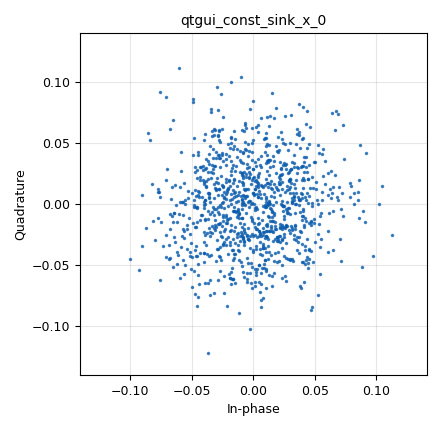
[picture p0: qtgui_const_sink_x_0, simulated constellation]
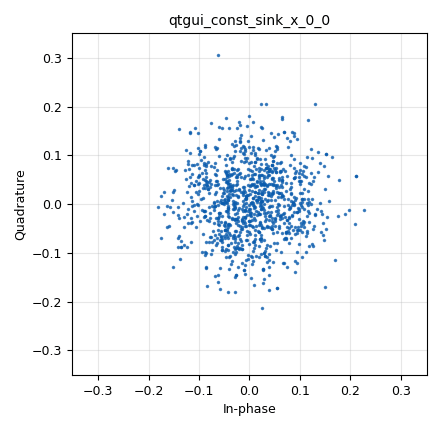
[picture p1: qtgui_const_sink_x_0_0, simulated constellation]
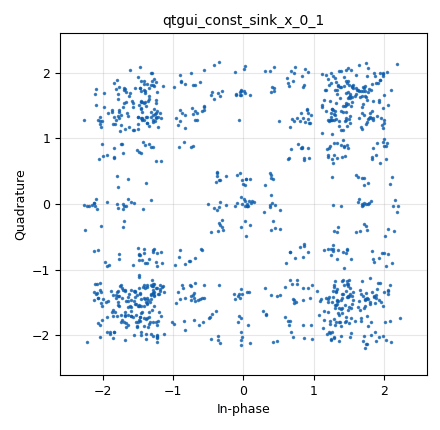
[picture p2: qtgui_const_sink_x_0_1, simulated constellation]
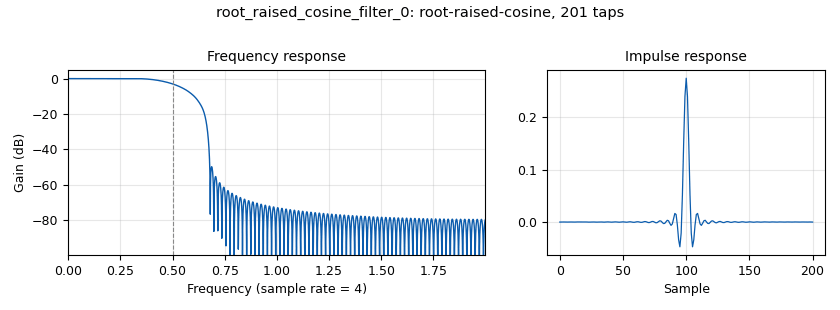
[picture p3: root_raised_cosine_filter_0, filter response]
options:
  parameters:
    generate_options: qt_gui
    id: qpsk_simulation1
    output_language: python
    title: QPSK
  states: {}

blocks:
- name: freq_offset
  id: variable_qtgui_range
  parameters:
    start: '0'
    step: '0.00001'
    stop: '0.001'
    value: '0.0001'
    widget: slider
  states: {}
- name: noise_voltage
  id: variable_qtgui_range
  parameters:
    start: '0'
    step: '1e-3'
    stop: '1'
    value: '0.1'
    widget: slider
  states: {}
- name: qpsk_constellation_0
  id: variable_constellation
  parameters:
    precision: '8'
    type: qpsk
  states: {}
- name: samp_rate
  id: variable
  parameters:
    value: '32000'
  states: {}
- name: time_offset
  id: variable_qtgui_range
  parameters:
    start: '0'
    step: '1e-5'
    stop: '1'
    value: '1e-6'
    widget: slider
  states: {}
- name: analog_random_source_x_0
  id: analog_random_source_x
  parameters:
    max: '256'
    min: '0'
    num_samps: '1000'
    repeat: 'True'
    type: byte
  states: {}
- name: blocks_throttle2_0
  id: blocks_throttle2
  parameters:
    samples_per_second: samp_rate
    type: complex
  states: {}
- name: channels_channel_model_0
  id: channels_channel_model
  parameters:
    epsilon: time_offset
    freq_offset: freq_offset
    noise_voltage: noise_voltage
    seed: '0'
    taps: '1'
  states: {}
- name: digital_constellation_modulator_0
  id: digital_constellation_modulator
  parameters:
    constellation: qpsk_constellation_0
    differential: 'False'
    excess_bw: '0.35'
    samples_per_symbol: '4'
  states: {}
- name: qtgui_const_sink_x_0
  id: qtgui_const_sink_x
  parameters:
    autoscale: 'True'
    grid: 'True'
    size: '1024'
    type: complex
  states: {}
- name: qtgui_const_sink_x_0_0
  id: qtgui_const_sink_x
  parameters:
    autoscale: 'True'
    grid: 'True'
    size: '1024'
    type: complex
  states: {}
- name: qtgui_const_sink_x_0_1
  id: qtgui_const_sink_x
  parameters:
    autoscale: 'True'
    grid: 'True'
    size: '1024'
    type: complex
  states: {}
- name: qtgui_freq_sink_x_0
  id: qtgui_freq_sink_x
  parameters:
    bw: samp_rate
    fc: '0'
    fftsize: '1024'
    type: complex
  states: {state: disabled}
- name: qtgui_time_sink_x_0
  id: qtgui_time_sink_x
  parameters:
    autoscale: 'True'
    grid: 'True'
    size: '1024'
    srate: samp_rate
    type: complex
  states: {state: disabled}
- name: root_raised_cosine_filter_0
  id: root_raised_cosine_filter
  parameters:
    alpha: '0.35'
    decim: '4'
    gain: '1'
    ntaps: '200'
    samp_rate: '4'
    sym_rate: '1.0'
    type: fir_filter_ccf
  states: {}
- name: virtual_sink_0
  id: virtual_sink
  parameters:
    stream_id: qpsk_passbandSignal
  states: {}
- name: virtual_source_0
  id: virtual_source
  parameters:
    stream_id: qpsk_passbandSignal
  states: {}

connections:
- [analog_random_source_x_0, '0', digital_constellation_modulator_0, '0']
- [blocks_throttle2_0, '0', channels_channel_model_0, '0']
- [blocks_throttle2_0, '0', qtgui_const_sink_x_0_1, '0']
- [channels_channel_model_0, '0', qtgui_const_sink_x_0_0, '0']
- [channels_channel_model_0, '0', virtual_sink_0, '0']
- [digital_constellation_modulator_0, '0', blocks_throttle2_0, '0']
- [root_raised_cosine_filter_0, '0', qtgui_const_sink_x_0, '0']
- [root_raised_cosine_filter_0, '0', qtgui_freq_sink_x_0, '0']
- [root_raised_cosine_filter_0, '0', qtgui_time_sink_x_0, '0']
- [virtual_source_0, '0', root_raised_cosine_filter_0, '0']

metadata:
  file_format: 1
  grc_version: 3.10.11.0
